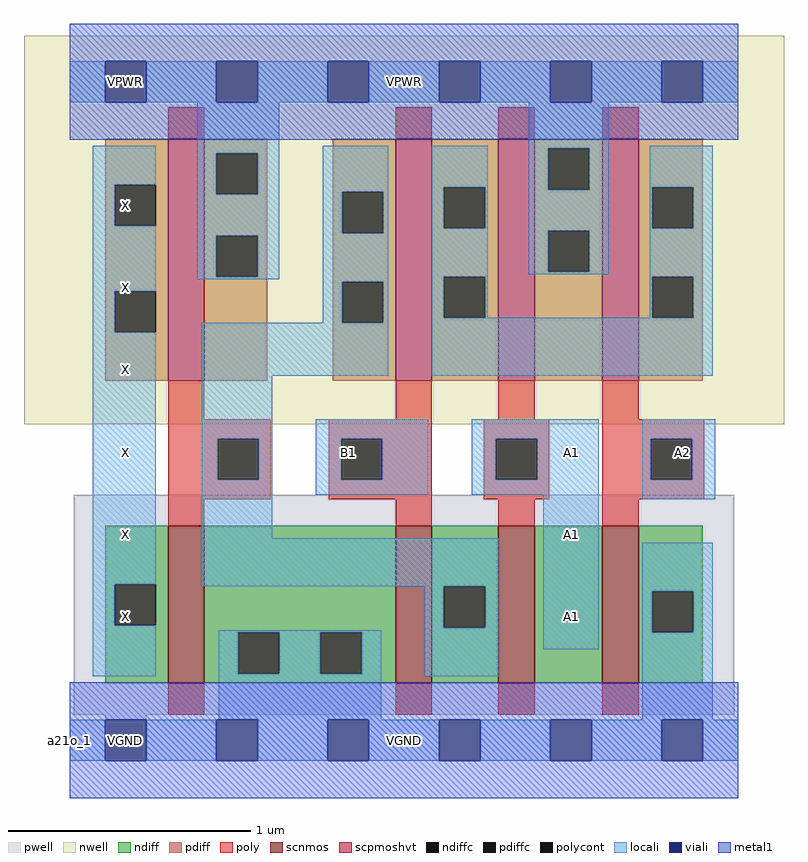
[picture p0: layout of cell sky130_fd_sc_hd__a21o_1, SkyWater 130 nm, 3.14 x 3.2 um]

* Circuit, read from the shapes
.subckt sky130_fd_sc_hd__a21o_1 A1 A2 B1 VGND VNB VPB VPWR X
XM1 VGND n1 X VNB sky130_fd_pr__nfet_01v8 w=0.65 l=0.15
XM2 n1 B1 VGND VNB sky130_fd_pr__nfet_01v8 w=0.65 l=0.15
XM3 n2 A1 n1 VNB sky130_fd_pr__nfet_01v8 w=0.65 l=0.15
XM4 VGND A2 n2 VNB sky130_fd_pr__nfet_01v8 w=0.65 l=0.15
XM5 VPWR n1 X VPB sky130_fd_pr__pfet_01v8_hvt w=1 l=0.15
XM6 n3 B1 n1 VPB sky130_fd_pr__pfet_01v8_hvt w=1 l=0.15
XM7 VPWR A1 n3 VPB sky130_fd_pr__pfet_01v8_hvt w=1 l=0.15
XM8 n3 A2 VPWR VPB sky130_fd_pr__pfet_01v8_hvt w=1 l=0.15
.ends

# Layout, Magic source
magic
tech sky130A
magscale 1 2
<< nwell >>
rect -38 261 590 582
<< pwell >>
rect 3 21 549 203
rect 29 -17 63 21
<< scnmos >>
rect 81 47 111 177
rect 269 47 299 177
rect 354 47 384 177
rect 440 47 470 177
<< scpmoshvt >>
rect 81 297 111 497
rect 269 297 299 497
rect 354 297 384 497
rect 440 297 470 497
<< ndiff >>
rect 29 129 81 177
rect 29 95 37 129
rect 71 95 81 129
rect 29 47 81 95
rect 111 89 269 177
rect 111 55 139 89
rect 173 55 207 89
rect 241 55 269 89
rect 111 47 269 55
rect 299 127 354 177
rect 299 93 309 127
rect 343 93 354 127
rect 299 47 354 93
rect 384 47 440 177
rect 470 123 523 177
rect 470 89 481 123
rect 515 89 523 123
rect 470 47 523 89
<< pdiff >>
rect 29 459 81 497
rect 29 425 37 459
rect 71 425 81 459
rect 29 371 81 425
rect 29 337 37 371
rect 71 337 81 371
rect 29 297 81 337
rect 111 485 163 497
rect 111 451 121 485
rect 155 451 163 485
rect 111 417 163 451
rect 111 383 121 417
rect 155 383 163 417
rect 111 297 163 383
rect 217 453 269 497
rect 217 419 225 453
rect 259 419 269 453
rect 217 379 269 419
rect 217 345 225 379
rect 259 345 269 379
rect 217 297 269 345
rect 299 457 354 497
rect 299 423 309 457
rect 343 423 354 457
rect 299 383 354 423
rect 299 349 309 383
rect 343 349 354 383
rect 299 297 354 349
rect 384 489 440 497
rect 384 455 395 489
rect 429 455 440 489
rect 384 421 440 455
rect 384 387 395 421
rect 429 387 440 421
rect 384 297 440 387
rect 470 457 523 497
rect 470 423 481 457
rect 515 423 523 457
rect 470 383 523 423
rect 470 349 481 383
rect 515 349 523 383
rect 470 297 523 349
<< ndiffc >>
rect 37 95 71 129
rect 139 55 173 89
rect 207 55 241 89
rect 309 93 343 127
rect 481 89 515 123
<< pdiffc >>
rect 37 425 71 459
rect 37 337 71 371
rect 121 451 155 485
rect 121 383 155 417
rect 225 419 259 453
rect 225 345 259 379
rect 309 423 343 457
rect 309 349 343 383
rect 395 455 429 489
rect 395 387 429 421
rect 481 423 515 457
rect 481 349 515 383
<< poly >>
rect 81 497 111 523
rect 269 497 299 523
rect 354 497 384 523
rect 440 497 470 523
rect 81 265 111 297
rect 269 265 299 297
rect 354 265 384 297
rect 440 265 470 297
rect 81 249 166 265
rect 81 215 122 249
rect 156 215 166 249
rect 81 199 166 215
rect 214 249 299 265
rect 214 215 224 249
rect 258 215 299 249
rect 214 199 299 215
rect 342 249 396 265
rect 342 215 352 249
rect 386 215 396 249
rect 342 199 396 215
rect 440 249 524 265
rect 440 215 480 249
rect 514 215 524 249
rect 440 199 524 215
rect 81 177 111 199
rect 269 177 299 199
rect 354 177 384 199
rect 440 177 470 199
rect 81 21 111 47
rect 269 21 299 47
rect 354 21 384 47
rect 440 21 470 47
<< polycont >>
rect 122 215 156 249
rect 224 215 258 249
rect 352 215 386 249
rect 480 215 514 249
<< locali >>
rect 0 527 29 561
rect 63 527 121 561
rect 155 527 213 561
rect 247 527 305 561
rect 339 527 397 561
rect 431 527 489 561
rect 523 527 552 561
rect 19 459 71 491
rect 19 425 37 459
rect 19 371 71 425
rect 105 485 173 527
rect 105 451 121 485
rect 155 451 173 485
rect 105 417 173 451
rect 105 383 121 417
rect 155 383 173 417
rect 105 381 173 383
rect 209 453 263 491
rect 209 419 225 453
rect 259 419 263 453
rect 19 337 37 371
rect 209 379 263 419
rect 209 345 225 379
rect 259 345 263 379
rect 19 129 71 337
rect 19 95 37 129
rect 109 301 263 345
rect 299 457 345 491
rect 299 423 309 457
rect 343 423 345 457
rect 299 383 345 423
rect 379 489 445 527
rect 379 455 395 489
rect 429 455 445 489
rect 379 421 445 455
rect 379 387 395 421
rect 429 387 445 421
rect 379 385 445 387
rect 479 457 531 491
rect 479 423 481 457
rect 515 423 531 457
rect 299 349 309 383
rect 343 349 345 383
rect 479 383 531 423
rect 479 349 481 383
rect 515 349 531 383
rect 299 301 531 349
rect 109 249 167 301
rect 109 215 122 249
rect 156 215 167 249
rect 109 167 167 215
rect 203 249 296 265
rect 203 215 224 249
rect 258 215 296 249
rect 203 203 296 215
rect 332 249 437 265
rect 332 215 352 249
rect 386 215 437 249
rect 332 203 437 215
rect 109 127 355 167
rect 19 53 71 95
rect 293 93 309 127
rect 343 93 355 127
rect 123 89 257 91
rect 123 55 139 89
rect 173 55 207 89
rect 241 55 257 89
rect 123 17 257 55
rect 293 53 355 93
rect 391 75 437 203
rect 473 249 533 265
rect 473 215 480 249
rect 514 215 533 249
rect 473 199 533 215
rect 473 123 531 163
rect 473 89 481 123
rect 515 89 531 123
rect 473 17 531 89
rect 0 -17 29 17
rect 63 -17 121 17
rect 155 -17 213 17
rect 247 -17 305 17
rect 339 -17 397 17
rect 431 -17 489 17
rect 523 -17 552 17
<< viali >>
rect 29 527 63 561
rect 121 527 155 561
rect 213 527 247 561
rect 305 527 339 561
rect 397 527 431 561
rect 489 527 523 561
rect 29 -17 63 17
rect 121 -17 155 17
rect 213 -17 247 17
rect 305 -17 339 17
rect 397 -17 431 17
rect 489 -17 523 17
<< metal1 >>
rect 0 561 552 592
rect 0 527 29 561
rect 63 527 121 561
rect 155 527 213 561
rect 247 527 305 561
rect 339 527 397 561
rect 431 527 489 561
rect 523 527 552 561
rect 0 496 552 527
rect 0 17 552 48
rect 0 -17 29 17
rect 63 -17 121 17
rect 155 -17 213 17
rect 247 -17 305 17
rect 339 -17 397 17
rect 431 -17 489 17
rect 523 -17 552 17
rect 0 -48 552 -17
<< labels >>
flabel locali s 489 221 523 255 0 FreeSans 200 0 0 0 A2
port 2 nsew signal input
flabel locali s 397 85 431 119 0 FreeSans 200 0 0 0 A1
port 1 nsew signal input
flabel locali s 397 153 431 187 0 FreeSans 200 0 0 0 A1
port 1 nsew signal input
flabel locali s 397 221 431 255 0 FreeSans 200 0 0 0 A1
port 1 nsew signal input
flabel locali s 213 221 247 255 0 FreeSans 200 0 0 0 B1
port 3 nsew signal input
flabel locali s 29 85 63 119 0 FreeSans 200 0 0 0 X
port 8 nsew signal output
flabel locali s 29 425 63 459 0 FreeSans 200 0 0 0 X
port 8 nsew signal output
flabel locali s 29 357 63 391 0 FreeSans 200 0 0 0 X
port 8 nsew signal output
flabel locali s 29 289 63 323 0 FreeSans 200 0 0 0 X
port 8 nsew signal output
flabel locali s 29 221 63 255 0 FreeSans 200 0 0 0 X
port 8 nsew signal output
flabel locali s 29 153 63 187 0 FreeSans 200 0 0 0 X
port 8 nsew signal output
flabel metal1 s 29 527 63 561 0 FreeSans 200 0 0 0 VPWR
port 7 nsew power bidirectional abutment
flabel metal1 s 29 -17 63 17 0 FreeSans 200 0 0 0 VGND
port 4 nsew ground bidirectional abutment
flabel nwell s 29 527 63 561 0 FreeSans 200 0 0 0 VPB
port 6 nsew power bidirectional
flabel pwell s 29 -17 63 17 0 FreeSans 200 0 0 0 VNB
port 5 nsew ground bidirectional
rlabel comment s 0 0 0 0 4 a21o_1
rlabel metal1 s 0 -48 552 48 1 VGND
port 4 nsew ground bidirectional abutment
rlabel metal1 s 0 496 552 592 1 VPWR
port 7 nsew power bidirectional abutment
<< properties >>
string FIXED_BBOX 0 0 552 544
string GDS_END 4016556
string GDS_FILE $PDKPATH/libs.ref/sky130_fd_sc_hd/gds/sky130_fd_sc_hd.gds
string GDS_START 4010566
string LEFclass CORE
string LEFsite unithd
string LEFsymmetry X Y R90
string path 0.000 13.600 13.800 13.600 
<< end >>
